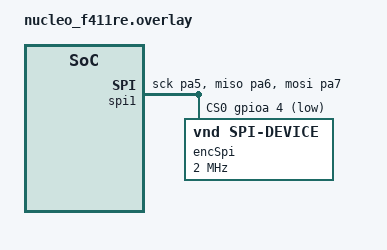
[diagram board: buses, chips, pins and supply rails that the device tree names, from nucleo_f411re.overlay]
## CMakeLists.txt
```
# SPDX-License-Identifier: Apache-2.0

cmake_minimum_required(VERSION 3.20.0)
find_package(Zephyr REQUIRED HINTS $ENV{ZEPHYR_BASE})
project(spi)

target_sources(app PRIVATE src/main.c)
target_sources(app PRIVATE src/encSpi.c)
```

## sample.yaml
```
sample:
  name: Spi Sample
tests:
  sample.basic.spi:
    tags:
      - SPI
    filter: dt_enabled_alias_with_parent_compat("led0", "gpio-leds")
    depends_on: gpio
    harness: led
    integration_platforms:
      - frdm_k64f
```

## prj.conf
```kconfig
CONFIG_GPIO=y
CONFIG_SPI=y
CONFIG_LOG=y
CONFIG_LOG_DEFAULT_LEVEL=3

CONFIG_SHELL=y

# --------------------------------------------------
# Tracing and Debugging (SystemView & RTT)
# --------------------------------------------------

# Enable system-wide tracing (required for SystemView)
CONFIG_TRACING=y

# Enable SEGGER SystemView support
CONFIG_SEGGER_SYSTEMVIEW=y

# Start tracing automatically on system boot
CONFIG_SEGGER_SYSTEMVIEW_BOOT_ENABLE=y

# Use SEGGER RTT as the backend for tracing and logging
CONFIG_USE_SEGGER_RTT=y

# Always initialize the RTT backend, even if a debugger is not attached
CONFIG_SEGGER_RTT_INIT_MODE_ALWAYS=y

# Include thread metadata (names, IDs) in the trace output
CONFIG_DEBUG_THREAD_INFO=y

# Change bufer for SYSTEMVIEW debugging (default = 4096)
CONFIG_SEGGER_SYSVIEW_RTT_BUFFER_SIZE=16384
```

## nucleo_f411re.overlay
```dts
&spi1 {
	pinctrl-0 = <&spi1_sck_pa5
		     &spi1_miso_pa6 &spi1_mosi_pa7>;
	pinctrl-names = "default";
    cs-gpios = <&gpioa 4 (GPIO_ACTIVE_LOW | GPIO_PULL_UP)>;
	status = "okay";

    encspi: encspi@0 {
        compatible = "vnd,spi-device"; //vnd: vendor definition
        reg = <0>;
        spi-max-frequency = <2000000>;
        label = "encSpi";
    };
};
```

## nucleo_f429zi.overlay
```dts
&spi1 {
	pinctrl-0 = <&spi1_sck_pa5 &spi1_miso_pa6 &spi1_mosi_pa7>;
	pinctrl-names = "default";
	cs-gpios = <&gpiod 14 (GPIO_ACTIVE_LOW | GPIO_PULL_UP)>;
	status = "okay";
    
    encspi: encspi@0 {
        compatible = "vnd,spi-device"; //vnd: vendor definition
        reg = <0>;
        spi-max-frequency = <1600000>;
        label = "encSpi";
    };
    
};
```

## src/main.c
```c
/*
 * Copyright (c) 2016 Intel Corporation
 *
 * SPDX-License-Identifier: Apache-2.0
 */

#include <stdio.h>
#include <zephyr/kernel.h>
#include <zephyr/drivers/gpio.h>

/* 1000 msec = 1 sec */
#define SLEEP_TIME_MS   1000

/* The devicetree node identifier for the "led0" alias. */
#define LED0_NODE DT_ALIAS(led0)

/*
 * A build error on this line means your board is unsupported.
 * See the sample documentation for information on how to fix this.
 */
static const struct gpio_dt_spec led = GPIO_DT_SPEC_GET(LED0_NODE, gpios);

int main(void)
{
	int ret;
	bool led_state = true;

	SEGGER_SYSVIEW_SendSysDesc("I#15=Systick_IRQ");

	if (!gpio_is_ready_dt(&led)) {
		return 0;
	}

	ret = gpio_pin_configure_dt(&led, GPIO_OUTPUT_ACTIVE);
	if (ret < 0) {
		return 0;
	}

	while (1) {
		ret = gpio_pin_toggle_dt(&led);
		if (ret < 0) {
			return 0;
		}

		led_state = !led_state;
		//printf("LED state: %s\n", led_state ? "ON" : "OFF");
		k_msleep(SLEEP_TIME_MS);
	}
	return 0;
}
```

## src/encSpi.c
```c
#include <zephyr/kernel.h>
#include <zephyr/drivers/spi.h>
#include <zephyr/logging/log.h>
#include <zephyr/shell/shell.h>

LOG_MODULE_REGISTER(spi_enc);

/* Thread stack size & priority */
#define STACK_SIZE   4096
#define PRIORITY     5

/* encSPI Volatile Register Addresses (14-bit) */
#define ENCSPI_NOP      0x0000U
#define ENCSPI_ERRFL    0x0001U
#define ENCSPI_PROG     0x0003U
#define ENCSPI_DIAAGC   0x3FFCU
#define ENCSPI_MAG      0x3FFDU
#define ENCSPI_ANGLEUNC 0x3FFEU
#define ENCSPI_ANGLECOM 0x3FFFU

/*encSPI Non Volatile Register Addresses (14-bit) */
#define ENCSPI_ZPOSM     0x0016U
#define ENCSPI_ZPOSL     0x0017U
#define ENCSPI_SETTINGS1 0x0018U
#define ENCSPI_SETTINGS2 0x0019U
#define ENCSPI_RED       0x001AU

/* ============ Register Unions with Bitfields ============ */

/* ERRFL Register (0x0001) - Error flags */
typedef union {
    uint16_t raw;
    struct {
        uint16_t frerr   : 1;  /* Bit 0: Framing error is set to 1 when a non-compliant SPI
frame is detected */
        uint16_t invcomm : 1;  /* Bit 1: Invalid command */
        uint16_t parerr  : 1;  /* Bit 2: Parity error */
        uint16_t reserved: 13; /* Bits 3-15: Reserved */
    } bits;
} errfl_reg_t;

/* PROG Register (0x0003) - Programming control */
typedef union {
    uint16_t raw;
    struct {
        uint16_t progen    : 1;  /* Bit 0: Program OTP enable: enables reading / writing the OTP memory */
        uint16_t reserved1 : 1;  /* Bit 1: Reserved */
        uint16_t otpref    : 1;  /* Bit 2: Refreshes the non-volatile memory content with the OTP programmed content */
        uint16_t progotp   : 1;  /* Bit 3: Start OTP programming cyclee */
        uint16_t reserved2 : 2;  /* Bits 4-5: Reserved */
        uint16_t progver   : 1;  /* Bit 6: Verify OTP programming */
        uint16_t reserved3 : 9;  /* Bits 7-15: Reserved */
    } bits;
} prog_reg_t;

/* DIAAGC Register (0x3FFC) - Diagnostics and AGC */
typedef union {
    uint16_t raw;
    struct {
        uint16_t agc  : 8;  /* Bits 7:0: Automatic gain control value */
        uint16_t lf   : 1;  /* Bit 8: Loops finished (0=not ready, 1=finished) */
        uint16_t cof  : 1;  /* Bit 9: CORDIC overflow */
        uint16_t magh : 1;  /* Bit 10: Magnetic field too high (AGC=0x00) */
        uint16_t magl : 1;  /* Bit 11: Magnetic field too low (AGC=0xFF) */
        uint16_t reserved : 4; /* Bits 12-15: Reserved/unused */
    } bits;
} diaagc_reg_t;

/* MAG Register (0x3FFD) - CORDIC magnitude */
typedef union {
    uint16_t raw;
    struct {
        uint16_t cmag : 14; /* Bits 0-13: CORDIC magnitude */
        uint16_t reserved : 2; /* Bits 14-15: Reserved */
    } bits;
} mag_reg_t;

/* ANGLE Register (0x3FFE/0x3FFF) - Angle value */
typedef union {
    uint16_t raw;
    struct {
        uint16_t angle : 14; /* Bits 0-13: Angle value (14-bit) */
        uint16_t reserved : 2; /* Bits 14-15: Reserved */
    } bits;
} angle_reg_t;

/* SETTINGS1 Register (0x0018) - Configuration settings 1 */
typedef union {
    uint16_t raw;
    struct {
        uint16_t iwidth    : 1;  /* Bit 0: Index pulse width (0=3LSB, 1=1LSB) */
        uint16_t noiseset  : 1;  /* Bit 1: Noise setting */
        uint16_t dir       : 1;  /* Bit 2: Rotation direction */
        uint16_t uvw_abi   : 1;  /* Bit 3: PWM output (0=ABI+W as PWM, 1=UVW+I as PWM) */
        uint16_t daecdis   : 1;  /* Bit 4: Disable DAE compensation (0=ON, 1=OFF) */
        uint16_t reserved1 : 1;  /* Bit 5: Reserved */
        uint16_t dataselect: 1;  /* Bit 6: Data select (0=DAECANG, 1=CORDICANG) */
        uint16_t pwmon     : 1;  /* Bit 7: Enable PWM (requires UVW_ABI setting) */
        uint16_t reserved2 : 8;  /* Bits 8-15: Reserved */
    } bits;
} settings1_reg_t;



static void print_settings1(settings1_reg_t reg)
{
    LOG_INF("SETTINGS1: 0x%04X", reg.raw);
    LOG_INF("  IWIDTH     [0]: %u - Index pulse width (%s)", 
            reg.bits.iwidth, reg.bits.iwidth ? "1 LSB" : "3 LSB");
    LOG_INF("  NOISESET   [1]: %u - Noise setting", reg.bits.noiseset);
    LOG_INF("  DIR        [2]: %u - Rotation direction", reg.bits.dir);
    LOG_INF("  UVW_ABI    [3]: %u - PWM output (%s)", 
            reg.bits.uvw_abi, reg.bits.uvw_abi ? "UVW, I=PWM" : "ABI, W=PWM");
    LOG_INF("  DAECDIS    [4]: %u - DAE compensation (%s)", 
            reg.bits.daecdis, reg.bits.daecdis ? "OFF" : "ON");
    LOG_INF("  DATASELECT [6]: %u - Data at 0x3FFF (%s)", 
            reg.bits.dataselect, reg.bits.dataselect ? "CORDICANG" : "DAECANG");
    LOG_INF("  PWMON      [7]: %u - PWM (%s)", 
            reg.bits.pwmon, reg.bits.pwmon ? "enabled" : "disabled");
}

/* ======================================================= */



/* encSPI uses 16-bit SPI frames */
/* encspi uses SPI Mode 1: CPOL=0, CPHA=1 */
#define SPIOP      (SPI_WORD_SET(16) | SPI_TRANSFER_MSB | SPI_MODE_CPHA)

struct spi_dt_spec spispec = SPI_DT_SPEC_GET(DT_NODELABEL(encspi), SPIOP);

/* Calculate even parity for encSPI command frame */
static uint8_t calc_even_parity(uint16_t value)
{
    uint8_t cnt = 0;
    while (value) {
        cnt += value & 1;
        value >>= 1;
    }
    return cnt & 1;
}

/* Build encSPI command frame: bit15=parity, bit14=R/W (1=read), bits13-0=address */
static uint16_t encspi_cmd(uint16_t reg_addr, bool read)
{
    uint16_t cmd = (reg_addr & 0x3FFF);  /* 14-bit address */
    if (read) {
        cmd |= (1 << 14);  /* Set read bit */
    }
    /* Calculate parity over bits 0-14 and set bit 15 */
    if (calc_even_parity(cmd)) {
        cmd |= (1 << 15);
    }
    return cmd;
}

int err;

/* Thread function prototypes */
int th_encSpi(void *, void *, void *);

K_THREAD_DEFINE(encSpi, STACK_SIZE, th_encSpi, NULL, NULL, NULL,
		    PRIORITY, 0, 0);

/* encSPI read register - sends command in one frame, reads response in next */
static int encspi_read_reg(uint16_t reg_addr, uint16_t *data)
{
	int err;
	uint16_t tx_cmd = encspi_cmd(reg_addr, true);  /* Build read command */
	uint16_t rx_data = 0;

	struct spi_buf tx_buf = {.buf = &tx_cmd, .len = sizeof(tx_cmd)};
	struct spi_buf_set tx_buf_set = {.buffers = &tx_buf, .count = 1};
	struct spi_buf rx_buf = {.buf = &rx_data, .len = sizeof(rx_data)};
	struct spi_buf_set rx_buf_set = {.buffers = &rx_buf, .count = 1};

	/* First transaction: send command, ignore response (it's from previous command) */
	err = spi_transceive_dt(&spispec, &tx_buf_set, &rx_buf_set);
	if (err < 0) {
		LOG_ERR("spi_transceive_dt() failed, err: %d", err);
		return err;
	}

	/* Second transaction: send NOP to read the actual response */
	tx_cmd = encspi_cmd(ENCSPI_NOP, true);
	err = spi_transceive_dt(&spispec, &tx_buf_set, &rx_buf_set);
	if (err < 0) {
		LOG_ERR("spi_transceive_dt() failed, err: %d", err);
		return err;
	}

	/* Response format: bit15=parity, bit14=error flag, bits13-0=data */
	*data = rx_data & 0x3FFF;  /* Extract 14-bit data */

	return 0;
}

/* encSPI write register - sends write command with data */
static int encspi_write_reg(uint16_t reg_addr, uint16_t data)
{
	int err;
	uint16_t rx_data = 0;

	/* Build write command: bit15=parity, bit14=0 (write), bits13-0=address */
	uint16_t tx_cmd = encspi_cmd(reg_addr, false);  /* false = write */

	struct spi_buf tx_buf = {.buf = &tx_cmd, .len = sizeof(tx_cmd)};
	struct spi_buf_set tx_buf_set = {.buffers = &tx_buf, .count = 1};
	struct spi_buf rx_buf = {.buf = &rx_data, .len = sizeof(rx_data)};
	struct spi_buf_set rx_buf_set = {.buffers = &rx_buf, .count = 1};

	/* First transaction: send write command (address) */
	err = spi_transceive_dt(&spispec, &tx_buf_set, &rx_buf_set);
	if (err < 0) {
		LOG_ERR("spi_transceive_dt() failed, err: %d", err);
		return err;
	}

	/* Second transaction: send data with parity */
	/* Data frame: bit15=parity, bit14=0, bits13-0=data */
	tx_cmd = data & 0x3FFF;  /* 14-bit data */
	if (calc_even_parity(tx_cmd)) {
		tx_cmd |= (1 << 15);  /* Set parity bit */
	}

	err = spi_transceive_dt(&spispec, &tx_buf_set, &rx_buf_set);
	if (err < 0) {
		LOG_ERR("spi_transceive_dt() failed, err: %d", err);
		return err;
	}

	LOG_DBG("Write reg 0x%04X = 0x%04X", reg_addr, data);

	return 0;
}

/* Read all non-volatile registers using individual reads */
static int encspi_read_nv_registers_internal(void)
{
	uint16_t zposm;
	uint16_t zposl;
	uint16_t settings1;
	uint16_t settings2;
	uint16_t red;

    LOG_INF( "if using nucleo power the board with 3.3V");
    
	if (encspi_read_reg(ENCSPI_ZPOSM, &zposm) != 0) return -1;
	if (encspi_read_reg(ENCSPI_ZPOSL, &zposl) != 0) return -1;
	if (encspi_read_reg(ENCSPI_SETTINGS1, &settings1) != 0) return -1;
	if (encspi_read_reg(ENCSPI_SETTINGS2, &settings2) != 0) return -1;
	if (encspi_read_reg(ENCSPI_RED, &red) != 0) return -1;

	LOG_INF("=== NV Registers ===");
    LOG_INF("ZPOSM:     0x%04X", zposm);
    LOG_INF("ZPOSL:     0x%04X", zposl);
    LOG_INF("SETTINGS1: 0x%04X", settings1);
    LOG_INF("SETTINGS2: 0x%04X", settings2);
    LOG_INF("RED:       0x%04X", red);

	return 0;
}

/* Shell wrapper for encspi_read_nv_registers */
static int encspi_read_nv_registers(const struct shell *sh, size_t argc, char **argv)
{
	return encspi_read_nv_registers_internal();
}


/* Set I/PWM pin to Index pulse mode (pulse at zero position) */
static int encspi_set_index(const struct shell *sh, size_t argc, char **argv)
{
    shell_print(sh, "if using nucleo power the board with 3.3V");
    settings1_reg_t settings1;
    if (encspi_read_reg(ENCSPI_SETTINGS1, &settings1.raw) != 0) {
        LOG_ERR("Failed to read SETTINGS1 register");
        return -1;
    }
    settings1.bits.uvw_abi = 0; // abi operating , w used as pwm
    settings1.bits.pwmon = 1;   // enable pwm
    if (encspi_write_reg(ENCSPI_SETTINGS1, settings1.raw) != 0) {
        LOG_ERR("Failed to write SETTINGS1 register");
        return -1;
    }
    LOG_INF("I/PWM pin set to Index pulse mode");
    print_settings1(settings1);
    return 0;
}

/*Program OTP*/
static int encspi_program_otp(const struct shell *sh, size_t argc, char **argv)
{
    prog_reg_t prog;
    // Enable programming
    shell_print(sh, "Starting OTP programming...");
    if (encspi_read_reg(ENCSPI_PROG, &prog.raw) != 0) {
        shell_print(sh, "Failed to read PROG register");
        return -1;
    }
    shell_print(sh, "PROG before: 0x%04X", prog.raw);
    prog.raw = 0; // Clear PROG register
    shell_print(sh, "Enabling programming...");
    prog.bits.progen = 1; // Enable programming
    if (encspi_write_reg(ENCSPI_PROG, prog.raw) != 0) {
        shell_print(sh, "Failed to write PROG register");
        return -1;
    }

    // Start OTP programming
    prog.raw = 0; // Clear PROG register
    prog.bits.progotp = 1; // Start programming
    if (encspi_write_reg(ENCSPI_PROG, prog.raw) != 0) {
        shell_print(sh, "Failed to write PROG register for OTP programming");
        return -1;
    }

    shell_print(sh, "OTP programming started");
    // Wait for programming to complete (poll PROG register)
    do {
        k_msleep(100); // Delay between polls
        if (encspi_read_reg(ENCSPI_PROG, &prog.raw) != 0) {
            shell_print(sh, "Failed to read PROG register during OTP programming");
            return -1;
        }
        shell_print(sh, "PROG status: 0x%04X", prog.raw);
    } while (prog.raw != 0x01);

    shell_print(sh, "OTP programming completed - run encspi_otp_finish to finalize");
    return 0;
}

/* Finish OTP - disable PROGEN and refresh OTP content */
static int encspi_otp_finish(const struct shell *sh, size_t argc, char **argv)
{
    prog_reg_t prog;
    
    // Read current PROG state
    if (encspi_read_reg(ENCSPI_PROG, &prog.raw) != 0) {
        shell_print(sh, "Failed to read PROG register");
        return -1;
    }
    shell_print(sh, "PROG before: 0x%04X", prog.raw);

    // clear the the non-volatile memory content with the OTP programmed content
    shell_print(sh, "Clearing non-volatile memory content with OTP programmed content...");
    if (encspi_write_reg(ENCSPI_ZPOSM, 0x00) != 0) {
        shell_print(sh, "Failed to clear ZPOSM register");
        return -1;
    }
    if (encspi_write_reg(ENCSPI_ZPOSL, 0x00) != 0) {
        shell_print(sh, "Failed to clear ZPOSL register");
        return -1;
    }
    if (encspi_write_reg(ENCSPI_SETTINGS1, 0x00) != 0) {
        shell_print(sh, "Failed to clear SETTINGS1 register");
        return -1;
    }
    if (encspi_write_reg(ENCSPI_SETTINGS2, 0x00) != 0) {
        shell_print(sh, "Failed to clear SETTINGS2 register");
        return -1;
    }

    // Set Guarband to disable PROGEN
    shell_print(sh, "setguarband.");
    if (encspi_write_reg(ENCSPI_PROG, 0x40) != 0) {
        shell_print(sh, "Failed to write PROG register");
        return -1;
    }

    //set otpref to refresh
    shell_print(sh, "Triggering OTP refresh...");
    prog.bits.otpref = 1;
    if (encspi_write_reg(ENCSPI_PROG, prog.raw) != 0) {
        shell_print(sh, "Failed to trigger OTP refresh");
        return -1;
    }
    k_msleep(10);



    shell_print(sh, "OTP refresh complete. Power off the board");
    shell_print(sh, "Power on the board and check settings parameters to verify OTP programming was successful.");

    return 0;
}


/* thread */
int th_encSpi(void *arg1, void *arg2, void *arg3)
{   
    LOG_DBG("SPI Encoder Thread Started");
    err = spi_is_ready_dt(&spispec);
    if (!err) {
        LOG_ERR("Error: SPI device is not ready, err: %d", err);
    }

    /* Read all non-volatile registers at startup */
    encspi_read_nv_registers_internal();

    // Main loop can be used for periodic tasks or left empty if using shell commands for interaction
    // shell thread has by default has priority 0, which is higher than this thread, so shell commands will preempt this thread when invoked
    
    // while (1) {
    //     // Implement SPI communication with the encoder
    //     k_msleep(1000); // Adjust sleep time as necessary
    // }
    // finish this thread since all interactions are done via shell commands
    return 0;
}




/*SHELL*/

SHELL_CMD_REGISTER(encspi_read_nv, NULL, "Read encSPI NV registers", encspi_read_nv_registers);
SHELL_CMD_REGISTER(encspi_set_index, NULL, "Set I/PWM pin to Index pulse mode", encspi_set_index);
SHELL_CMD_REGISTER(encspi_program_otp, NULL, "Program encSPI OTP", encspi_program_otp);
SHELL_CMD_REGISTER(encspi_otp_finish, NULL, "Finish OTP (disable PROGEN, refresh)", encspi_otp_finish);
```
